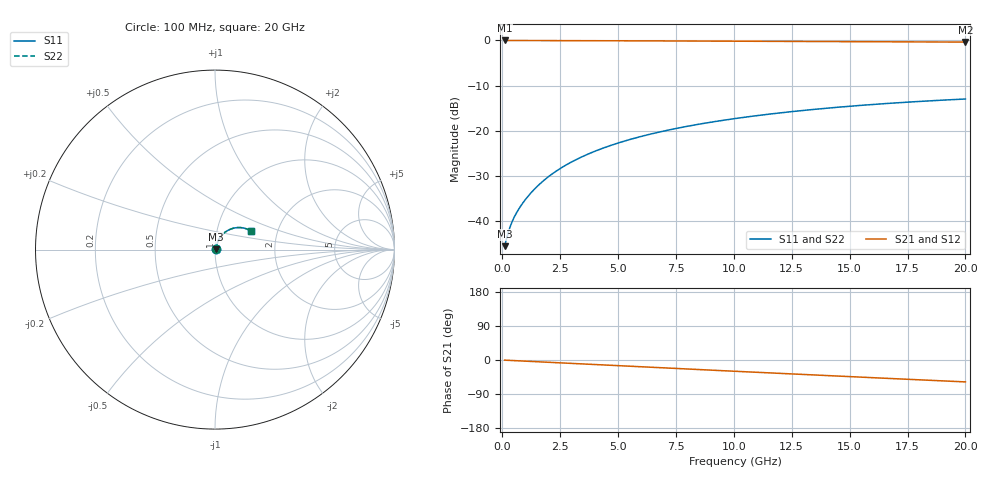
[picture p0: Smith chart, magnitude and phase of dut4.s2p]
! Touchstone file exported from HFSS 2026.1.0
!  File:  C:/ffzhzh/LocalFiles/Ansys_Project_Files/temp_val_TMRDL_4_1782902555_8056.aedt
!  Generated:  06:44:19 PM Jul  1, 2026
!  Design:  TMRDL
!  Project:  temp_val_TMRDL_4_1782902555_8056
! Variables:
!  h_bsmrdl = 2um
!  h_ox = 20um
!  h_rdl = 5um
!  h_sub = 80um
!  h_tmrdl = 3.03um
!  h_tsv = 80um
!  h_via = 3um
!  l_bsmrdl = 300um
!  l_sub = 1398.88um
!  l_tmrdl = 998.88um
!  m_sub = 200um
!  pitch = 34.9um
!  r_tsv = 6um
!  s_tmrdl = 10um
!  w_bsmrdl = 18um
!  w_sub = 500um
!  w_tmrdl = 25.46um
!  x_tsv_center1 = 1011.61um
!  x_tsv_center2 = 1329.61um
!  x_tsv_center3 = 2353.95um
!  x_tsv_center4 = 2671.95um
!  x_tsv_center5 = 3696.29um
!  x_tsv_center6 = 4014.29um
# GHz S MA R 50.000000
! Terminal data exported
! Port[1] = TM_RDL1_1_T1
! Port[2] = TM_RDL1_1_T2
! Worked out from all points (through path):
!   200 points, 100 MHz to 20 GHz, reference 50 ohm
!   highest |S21| = -0.04 dB at 100 MHz (marker M1); lowest = -0.4 dB at 20 GHz (marker M2)
!   group delay of S21, straight-line fit = 8.02 ps
!   lowest |S11| = -45.5 dB at 100 MHz (marker M3), VSWR 1.01, Z = 50.5 + j0.216 ohm
!   |S11| at or under -10 dB: start of sweep to end of sweep
!   |S22| runs from -45.5 to -13.0 dB; largest |S21 - S12| = 3.7e-15
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0.1  0.005335 23.6  0.9951 -0.3  0.9951 -0.3  0.005335 23.6
! Gamma 0 0 0 0
! Port Impedance 50 0 50 0
0.2  0.006698 37.3  0.9947 -0.7  0.9947 -0.7  0.006698 37.3
0.3  0.008188 44.6  0.9942 -1.0  0.9942 -1.0  0.008188 44.6
0.4  0.009609 49.0  0.9938 -1.3  0.9938 -1.3  0.009609 49.0
0.5  0.01096 52.3  0.9935 -1.6  0.9935 -1.6  0.01096 52.3
0.6  0.01226 55.0  0.9933 -1.9  0.9933 -1.9  0.01226 55.0
0.8  0.01485 59.2  0.9929 -2.5  0.9929 -2.5  0.01485 59.2
1.2  0.02016 64.8  0.9924 -3.7  0.9924 -3.7  0.02016 64.8
1.7  0.02706 68.3  0.992 -5.2  0.992 -5.2  0.02705 68.3
2.2  0.03411 69.8  0.9915 -6.7  0.9915 -6.7  0.03411 69.8
2.8  0.04263 70.3  0.9908 -8.5  0.9908 -8.5  0.04263 70.3
3.5  0.05255 69.8  0.9898 -10.5  0.9898 -10.5  0.05255 69.8
4.2  0.06236 68.8  0.9887 -12.6  0.9887 -12.6  0.06236 68.8
5  0.07338 67.2  0.9873 -15.0  0.9873 -15.0  0.07338 67.2
5.9  0.0855 65.1  0.9856 -17.7  0.9856 -17.7  0.08549 65.1
6.8  0.09728 62.9  0.9837 -20.3  0.9837 -20.3  0.09727 62.9
8.3  0.1161 59.0  0.9803 -24.7  0.9803 -24.7  0.1161 59.0
10.1  0.1373 54.2  0.9761 -29.9  0.9761 -29.9  0.1373 54.2
11.7  0.1548 49.9  0.9723 -34.5  0.9723 -34.5  0.1548 49.9
13.4  0.172 45.3  0.9683 -39.3  0.9683 -39.3  0.172 45.3
16.7  0.2012 36.5  0.9611 -48.6  0.9611 -48.6  0.2012 36.5
20  0.2247 27.7  0.9547 -57.8  0.9547 -57.8  0.2247 27.8
